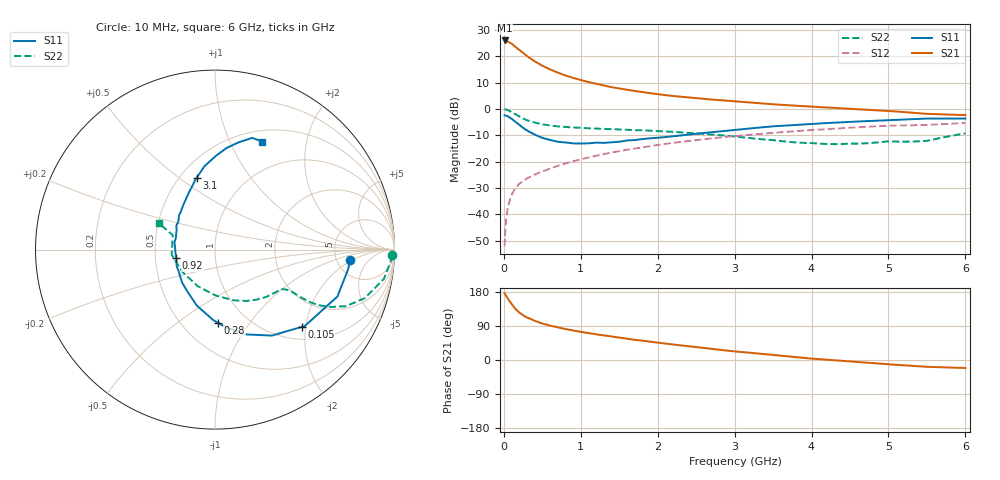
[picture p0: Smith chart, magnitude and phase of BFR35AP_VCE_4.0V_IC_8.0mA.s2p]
! Infineon Technologies  Discrete & RF Semiconductors
! BFR35AP
! VCE =  4.0 V,  IC =  8.0 mA
! Common Emitter S-Parameters:  Nov 2015
# GHz  S  MA  R  50
!  f  S11  S21  S12  S22
! GHz  MAG  ANG  MAG  ANG  MAG  ANG  MAG  ANG
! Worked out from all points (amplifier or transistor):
!   210 points, 10 MHz to 6 GHz, reference 50 ohm
!   highest |S21| = 26.0 dB at 10 MHz (marker M1)
!   |S21| within 3 dB of that: start of sweep to 174.8 MHz
!   unconditionally stable (mu >= 1): 652.2 MHz to 3.238 GHz
!   at 185 MHz: K = 0.49, MSG = 25.8 dB, |S12| = -28.8 dB
!   at 1.52 GHz: K = 1.11, MAG = 9.7 dB, |S12| = -15.9 dB
!   at 6 GHz: K = 0.95, MSG = 1.5 dB, |S12| = -5.3 dB
!   S11 on the Smith chart (normalised r, x): 10 MHz: 6.65, -1.88; 105 MHz: 1.28, -1.90; 280 MHz: 0.74, -0.72; 920 MHz: 0.64, -0.06; 3.1 GHz: 0.60, +0.58; 6 GHz: 0.63, +1.33
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0.01  0.7559 -4.6  19.85 176.2  0.0025 88.9  0.9873 -1.9
0.02  0.749 -8.7  19.51 172.5  0.0055 86.5  0.9802 -4.1
0.05  0.7304 -21.0  19.07 162.6  0.0127 79.7  0.9549 -9.9
0.1  0.6569 -40.4  17.38 147.6  0.0233 72.0  0.8769 -18.0
0.105  0.6466 -41.8  17.11 146.5  0.0241 71.3  0.8683 -18.5
0.15  0.5746 -56.5  15.04 134.8  0.0316 66.4  0.7942 -23.4
0.2  0.5011 -70.5  13.15 125.3  0.038 62.9  0.721 -26.3
0.24  0.4484 -79.4  11.76 119.5  0.0418 61.2  0.6695 -27.8
0.28  0.4087 -87.5  10.57 114.5  0.0459 60.9  0.6284 -28.6
0.3  0.392 -91.6  10.02 112.0  0.048 60.9  0.6095 -28.9
0.4  0.3279 -108.0  7.994 103.5  0.0568 60.3  0.5493 -29.1
0.5  0.2826 -122.3  6.587 96.1  0.0651 61.4  0.5106 -28.9
0.6  0.259 -135.2  5.625 90.7  0.0737 61.9  0.4839 -28.6
0.7  0.2386 -146.4  4.881 86.1  0.0831 62.4  0.466 -29.0
0.92  0.2216 -167.5  3.798 77.0  0.1035 62.9  0.4436 -29.9
1.02  0.2213 -176.5  3.468 73.6  0.1125 62.8  0.4354 -30.5
1.4  0.2331 157.9  2.583 62.1  0.1486 61.5  0.4137 -35.2
2.02  0.2852 131.6  1.884 45.3  0.2093 56.8  0.3786 -45.4
3.1  0.4138 104.1  1.353 20.9  0.3146 45.1  0.2899 -73.1
4.1  0.5301 88.4  1.084 2.3  0.4061 32.7  0.2195 -121.1
5.1  0.6201 76.3  0.895 -12.7  0.4827 18.9  0.2404 -178.4
6  0.657 66.3  0.763 -21.1  0.5417 8.6  0.3437 154.8
